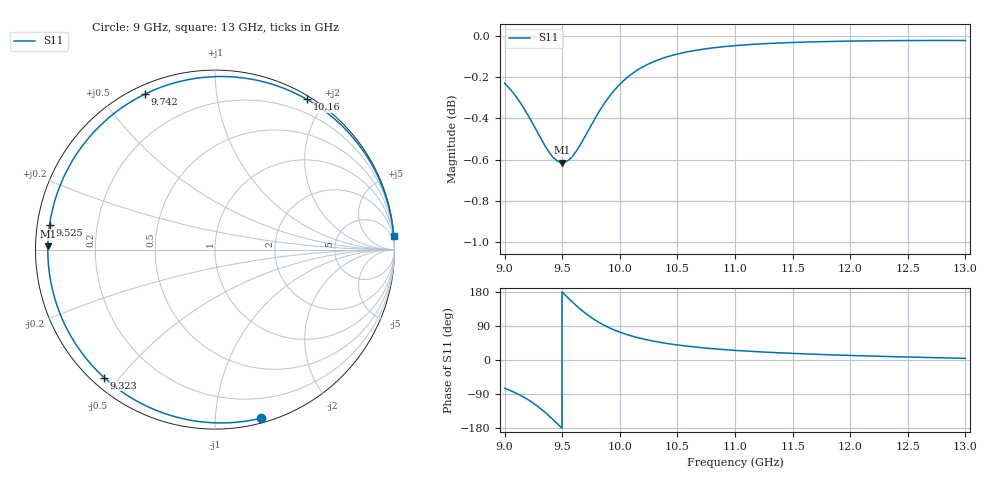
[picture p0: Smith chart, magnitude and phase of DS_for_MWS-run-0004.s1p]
! TOUCHSTONE file generated by CST DESIGN STUDIO
! Date and time: Tue Feb  4 13:08:09 2025
! Project name: C:\Work\MatlabApps\UnitCellOptimizationMatlab\CST\unitcell.cst
! Tree item: Tasks\Sweep1\SPara1\S-Parameters
! Header version: 2024
! Port assignment regex: !\s*Touchstone port\s*([0-9]+)\s*=\s*(CST MWS port|CST DES external port|CST DES block port)\s*(.+)\s* \(\"(.*)\"\)(\s*mode\s*([0-9]+))?.*
! Touchstone port assignment:
! Touchstone port 1 = CST DES external port 1 ("")
# GHz S MA R 50
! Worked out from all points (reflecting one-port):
!   4001 points, 9 GHz to 13 GHz, reference 50 ohm
!   lowest |S11| = -0.6 dB at 9.501 GHz (marker M1), VSWR 28.28, Z = 1.77 + j0.521 ohm
!   phase of S11 starts at -75 deg and turns -281 deg over the sweep
!   S11 on the Smith chart (normalised r, x): 9 GHz: 0.04, -1.31; 9.323 GHz: 0.04, -0.46; 9.525 GHz: 0.04, +0.07; 9.742 GHz: 0.04, +0.65; 10.16 GHz: 0.04, +1.78; 13 GHz: 1, +27
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9  0.974 -74.6
9.085  0.9679 -85.3
9.186  0.9585 -101.5
9.257  0.9508 -115.6
9.323  0.9434 -130.9
9.37  0.9386 -143.1
9.42  0.9345 -157.1
9.461  0.9324 -169.2
9.5  0.9317 179.1
9.501  0.9317 178.8
9.525  0.932 171.6
9.578  0.9342 156.0
9.638  0.9391 139.3
9.689  0.9444 126.4
9.742  0.9503 114.3
9.795  0.956 103.6
9.853  0.9618 93.4
9.926  0.9681 82.6
10  0.9734 73.5
10.161  0.9815 58.5
10.315  0.9863 48.4
10.5  0.99 39.7
10.722  0.9927 32.1
11  0.9947 25.4
11.5  0.9964 17.4
12  0.9972 12.0
12.5  0.9975 7.9
13  0.9975 4.3
